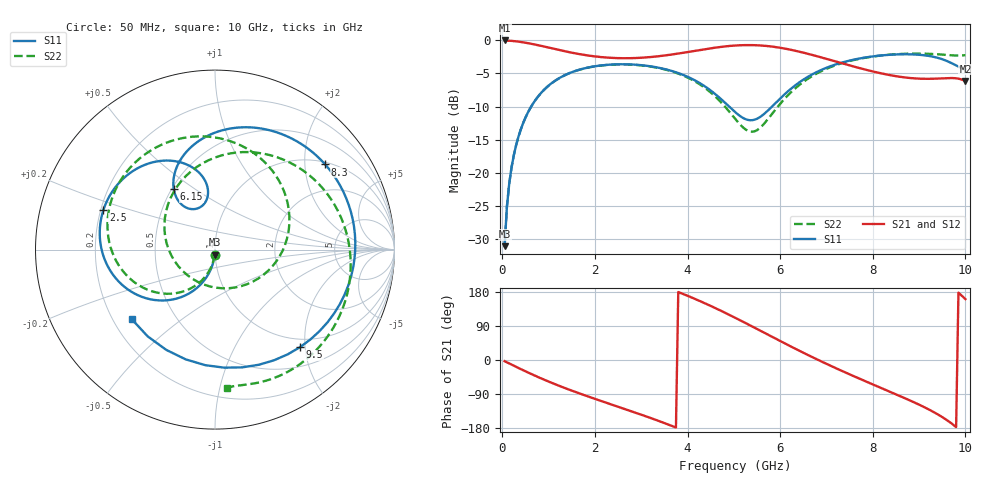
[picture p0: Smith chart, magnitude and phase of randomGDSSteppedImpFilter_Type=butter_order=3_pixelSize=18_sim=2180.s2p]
! freq	dB(S11)	phase(S11)	dB(S12)	phase(S12)
!  dB(S21)	phase(S21)	dB(S22)	phase(S22)
!S-par simulation data
#  GHz  S  DB  R 50
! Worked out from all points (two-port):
!   200 points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, 50 MHz to 10 GHz, reference 50 ohm
!   highest |S21| = -0.01 dB at 50 MHz (marker M1); lowest = -6.1 dB at 10 GHz (marker M2)
!   |S21| within 3 dB of the highest: start of sweep to 7.109 GHz
!   lowest |S11| = -31.1 dB at 50 MHz (marker M3), VSWR 1.06, Z = 49.8 - j2.77 ohm
!   |S11| at or under -10 dB: start of sweep to 625 MHz; 4.897 GHz to 5.824 GHz (927 MHz wide, 17.3 % of centre)
!   |S22| runs from -31.1 to -2.0 dB; largest |S21 - S12| = 0
!   S11 on the Smith chart (normalised r, x): 50 MHz: 1.00, -0.06; 2.5 GHz: 0.21, +0.16; 6.15 GHz: 0.51, +0.41; 8.3 GHz: 1.06, +2.54; 9.5 GHz: 0.83, -1.89; 10 GHz: 0.28, -0.34
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0.05  -31.12 -93.0  -0.01 -3.1  -0.01 -3.1  -31.12 -93.5
0.1  -25.13 -95.9  -0.02 -6.1  -0.02 -6.1  -25.13 -96.9
0.2  -19.20 -101.7  -0.07 -12.2  -0.07 -12.2  -19.20 -103.6
0.5  -11.68 -117.9  -0.35 -29.8  -0.35 -29.8  -11.69 -122.8
1.05  -6.55 -144.8  -1.17 -59.4  -1.17 -59.4  -6.56 -155.1
1.75  -4.26 -173.3  -2.17 -91.9  -2.17 -91.9  -4.27 168.5
2.5  -3.61 160.6  -2.68 -123.3  -2.68 -123.3  -3.63 131.9
3.4  -4.17 131.4  -2.37 -161.8  -2.37 -161.8  -4.21 84.8
4.3  -6.61 104.6  -1.41 153.8  -1.41 153.8  -6.81 25.0
4.65  -8.42 97.8  -1.05 134.2  -1.05 134.2  -8.83 -6.0
5.05  -10.97 99.4  -0.76 110.2  -0.76 110.2  -12.03 -54.5
5.55  -11.66 120.2  -0.75 78.7  -0.75 78.7  -13.32 -146.3
6.15  -7.81 124.4  -1.30 40.7  -1.30 40.7  -8.43 130.9
6.7  -5.11 108.2  -2.21 7.3  -2.21 7.3  -5.36 81.9
7.1  -3.87 92.6  -2.99 -15.8  -2.99 -15.8  -4.01 52.5
7.55  -2.97 73.3  -3.88 -40.6  -3.88 -40.6  -3.03 23.4
8.3  -2.20 37.7  -5.15 -80.0  -5.15 -80.0  -2.20 -18.3
8.35  -2.18 35.1  -5.22 -82.6  -5.22 -82.6  -2.17 -20.8
9  -2.17 -3.9  -5.78 -117.8  -5.78 -117.8  -1.99 -51.0
9.5  -2.84 -49.1  -5.74 -150.6  -5.74 -150.6  -2.15 -70.7
9.8  -3.79 -94.8  -5.73 -177.1  -5.73 -177.1  -2.29 -80.1
10  -4.37 -140.2  -6.15 160.7  -6.15 160.7  -2.24 -85.2
